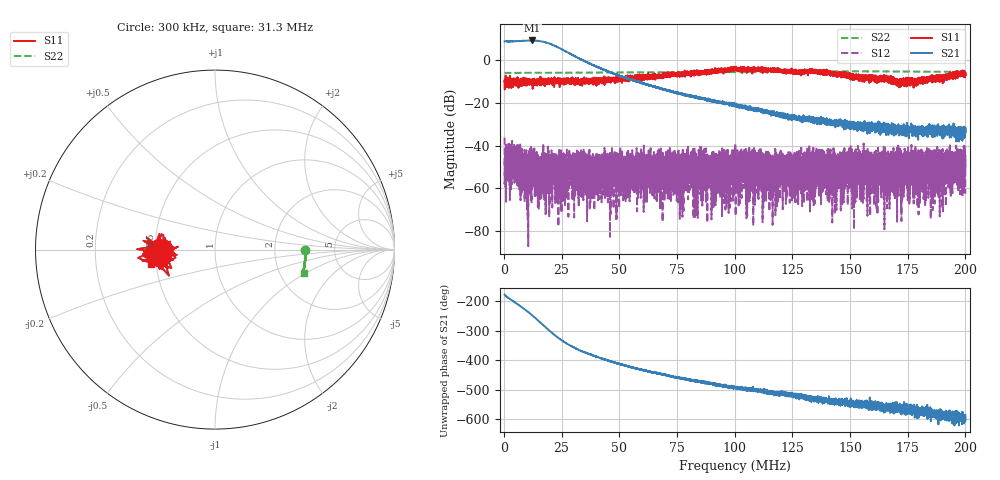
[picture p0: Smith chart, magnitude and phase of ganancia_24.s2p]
# Hz S DB R 50
! CMT, M5065, 19127446, 24.2.4/2
! Date: 10/29/2024 12:22:29 PM
! Data: Format (Calibration Info)
! Freq	S11:dB/Ang(F2)	S21:dB/Ang(F2)	S12:dB/Ang(F2)	S22:dB/Ang(F2)
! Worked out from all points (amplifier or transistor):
!   9000 points, 300 kHz to 200 MHz, reference 50 ohm
!   highest |S21| = 9.2 dB at 12.24 MHz (marker M1)
!   |S21| within 3 dB of that: start of sweep to 23.01 MHz
!   unconditionally stable (mu >= 1): start of sweep to end of sweep
!   at 33.59 MHz: K = 148.53, MAG = 2.0 dB, |S12| = -53.3 dB
!   at 100.2 MHz: K = 2334.40, MAG = -17.9 dB, |S12| = -58.8 dB
!   at 200 MHz: K = 3512.09, MAG = -28.9 dB, |S12| = -50.7 dB
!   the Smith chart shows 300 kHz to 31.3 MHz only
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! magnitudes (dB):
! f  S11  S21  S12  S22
! 300 kHz  -9.9  8.8  -36.2  -6.0
! 1.321 MHz  -10.8  8.8  -45.2  -6.0
! 4.272 MHz  -10.9  8.9  -45.5  -6.0
! 9.754 MHz  -9.2  9.1  -56.7  -5.9
! 12.24 MHz  -10.5  9.2  -43.7  -5.9
! 14.61 MHz  -10.6  9.0  -54.8  -5.9
! 20.89 MHz  -8.7  7.2  -59.6  -5.9
! 22.91 MHz  -9.9  6.3  -59.3  -5.9
! 24.89 MHz  -10.3  5.2  -51.2  -5.9
! 33.59 MHz  -10.0  0.3  -53.3  -5.9
! 66.87 MHz  -7.2  -12.9  -48.0  -5.7
! 100.2 MHz  -4.5  -21.2  -58.8  -5.6
! 133.4 MHz  -4.9  -28.7  -54.4  -5.3
! 166.7 MHz  -10.6  -31.3  -61.5  -5.3
! 172.8 MHz  -10.0  -32.1  -58.5  -5.3
! 174.5 MHz  -10.7  -31.2  -48.5  -5.4
! 178.4 MHz  -9.8  -31.8  -62.6  -5.4
! 184 MHz  -9.9  -33.3  -50.4  -5.4
! 186.4 MHz  -8.9  -32.8  -51.2  -5.4
! 190.6 MHz  -7.2  -32.8  -54.8  -5.5
! 192.3 MHz  -7.9  -30.9  -48.7  -5.5
! 200 MHz  -6.0  -31.6  -50.7  -5.5
